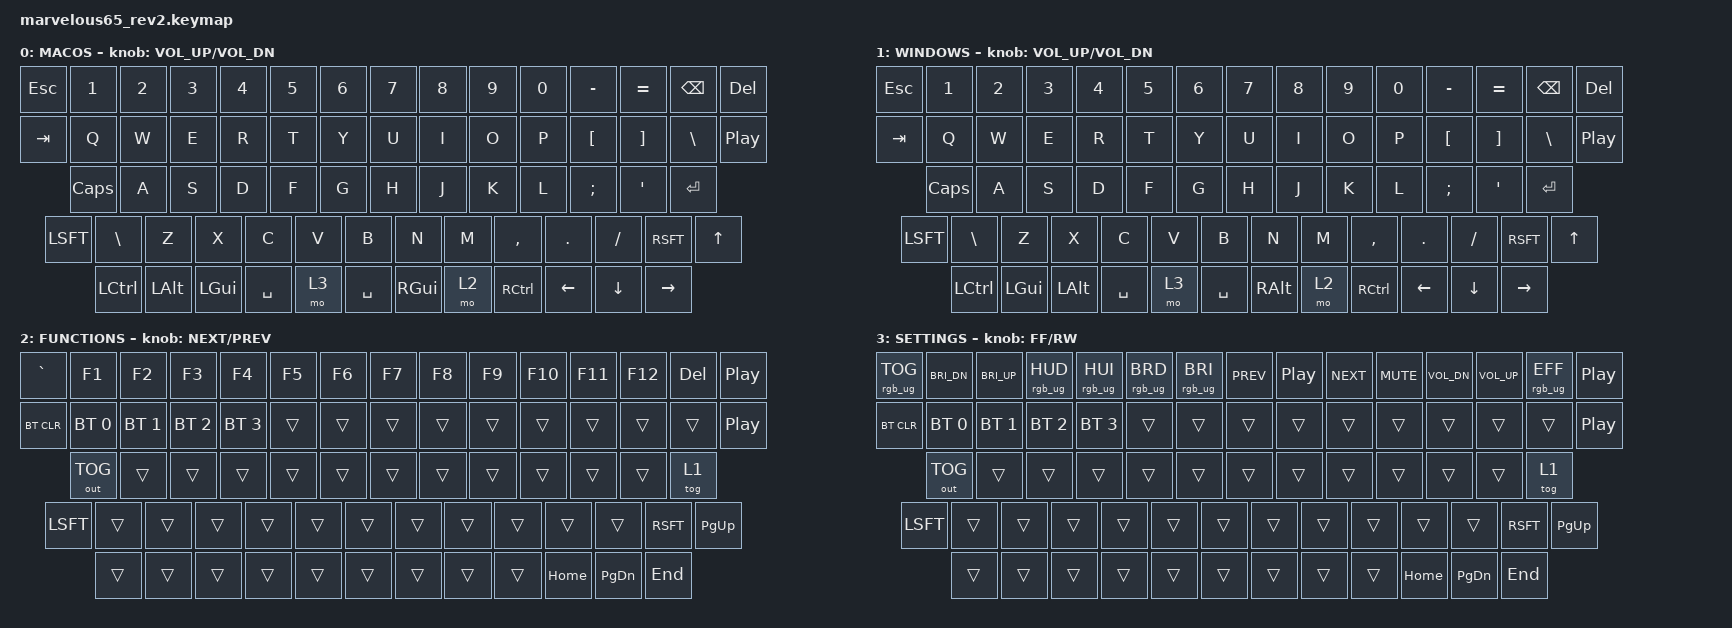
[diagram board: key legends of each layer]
/*
 * Copyright (c) 2020 The ZMK Contributors
 *
 * SPDX-License-Identifier: MIT
 */

#include <behaviors.dtsi>
#include <dt-bindings/zmk/keys.h>
#include <dt-bindings/zmk/bt.h>
#include <dt-bindings/zmk/outputs.h>
#include <dt-bindings/zmk/rgb.h>

/ {
	keymap0: keymap {
		compatible = "zmk,keymap";
		

		default_layer {
			
		label = "MACOS";
// -------------------------------------------------------------------------------------------------
// | ESC |  1  |  2  |  3  |  4  |  5  |  6  |  7  |  8  |  9  |  0  |  -  |  =  |   BKSP    | ENC  |
// | TAB  |  Q  |  W  |  E  |  R  |  T  |  Y  |  U  |  I  |  O  |  P  |  [  |  ]  |    \     |      |
// | CAPS  |  A  |  S  |  D  |  F  |  G  |  H  |  J  |  K  |  L  |  ;  |  '  |     ENTER     |      |
// |  SHIFT  |  Z  |  X  |  C  |  V  |  B  |  N  |  M  |  ,  |  .  |  /  |    SHIFT   |  UP  |      |
// |  CTL  |  WIN  |  ALT  |  SPACE | MO(2) |    SPACE    | ALT | MO(1) | CTRL | LEFT | DOWN | RIGHT|
// -------------------------------------------------------------------------------------------------
			bindings = <
	&kp ESC &kp NUM_1  &kp NUM_2 &kp NUM_3 &kp NUM_4 &kp NUM_5 &kp NUM_6 &kp NUM_7 &kp NUM_8 &kp NUM_9 &kp NUM_0 &kp MINUS &kp EQL  &kp BKSP &kp DEL
	&kp TAB  &kp   Q   &kp   W   &kp   E   &kp   R   &kp   T   &kp   Y   &kp   U   &kp   I   &kp   O   &kp   P   &kp LBKT &kp RBKT &kp BSLH &kp C_PP
	&kp CLCK  &kp   A   &kp   S   &kp   D   &kp   F   &kp   G   &kp   H   &kp   J   &kp   K   &kp   L   &kp  SCLN  &kp  QUOT        &kp RET
	&kp LSFT &kp BSLH  &kp   Z   &kp   X   &kp   C   &kp   V   &kp   B   &kp   N   &kp   M   &kp  CMMA &kp  DOT  &kp FSLH      &kp RSFT &kp UP 
	&kp LCTL &kp   LALT   &kp  LGUI   &kp SPC   &mo  3   &kp SPC     &kp  RGUI  &mo  2 &kp  RCTL  &kp LEFT &kp DOWN &kp RIGHT 
			>;

			 sensor-bindings = <&inc_dec_kp C_VOL_UP C_VOL_DN>;
		};

			macos {
			
			label = "WINDOWS";
// -------------------------------------------------------------------------------------------------
// | ESC |  1  |  2  |  3  |  4  |  5  |  6  |  7  |  8  |  9  |  0  |  -  |  =  |   BKSP    | ENC  |
// | TAB  |  Q  |  W  |  E  |  R  |  T  |  Y  |  U  |  I  |  O  |  P  |  [  |  ]  |    \     |      |
// | CAPS  |  A  |  S  |  D  |  F  |  G  |  H  |  J  |  K  |  L  |  ;  |  '  |     ENTER     |      |
// |  SHIFT  |  Z  |  X  |  C  |  V  |  B  |  N  |  M  |  ,  |  .  |  /  |    SHIFT   |  UP  |      |
// |  CTL  |  WIN  |  ALT  |  SPACE | MO(2) |    SPACE    | ALT | MO(1) | CTRL | LEFT | DOWN | RIGHT|
// -------------------------------------------------------------------------------------------------
			bindings = <
	&kp ESC &kp NUM_1 &kp NUM_2 &kp NUM_3 &kp NUM_4 &kp NUM_5 &kp NUM_6 &kp NUM_7 &kp NUM_8 &kp NUM_9 &kp NUM_0 &kp MINUS &kp EQL  &kp BKSP &kp DEL
	&kp TAB  &kp   Q   &kp   W   &kp   E   &kp   R   &kp   T   &kp   Y   &kp   U   &kp   I   &kp   O   &kp   P   &kp LBKT &kp RBKT &kp BSLH &kp C_PP
	&kp CLCK  &kp   A   &kp   S   &kp   D   &kp   F   &kp   G   &kp   H   &kp   J   &kp   K   &kp   L   &kp  SCLN  &kp  QUOT        &kp RET
	&kp LSFT &kp BSLH  &kp   Z   &kp   X   &kp   C   &kp   V   &kp   B   &kp   N   &kp   M   &kp  CMMA &kp  DOT  &kp FSLH      &kp RSFT &kp UP 
	&kp LCTL &kp  LGUI  &kp   LALT     &kp SPC   &mo  3   &kp SPC     &kp  RALT  &mo  2 &kp  RCTL  &kp LEFT &kp DOWN &kp RIGHT 
			>;


			 sensor-bindings = <&inc_dec_kp C_VOL_UP C_VOL_DN>;
		};

		functions {
			label = "FUNCTIONS";
            bindings = <
	&kp GRAVE &kp F1 &kp F2 &kp F3 &kp F4 &kp F5 &kp F6 &kp F7 &kp F8 &kp F9 &kp F10 &kp F11 &kp F12  &kp DEL &kp C_PP
	&bt BT_CLR  &bt BT_SEL 0 &bt BT_SEL 1 &bt BT_SEL 2  &bt BT_SEL 3   &trans   &trans   &trans   &trans   &trans   &trans   &trans &trans  &trans &kp C_PP
	&out OUT_TOG &trans   &trans   &trans   &trans   &trans   &trans   &trans   &trans   &trans   &trans  &trans        &tog 1
	&kp LSFT   &trans &trans  &trans  &trans   &trans   &trans   &trans   &trans   &trans &trans  &trans       &kp RSFT &kp PG_UP
	&trans &trans   &trans   &trans   &trans   &trans     &trans  &trans &trans   &kp HOME &kp PG_DN &kp END
			>;

			sensor-bindings = <&inc_dec_kp C_NEXT C_PREV>;
        };

		 settings {
			 label = "SETTINGS";
            bindings = <
	&rgb_ug RGB_TOG &kp C_BRI_DN &kp C_BRI_UP &rgb_ug RGB_HUD &rgb_ug RGB_HUI    &rgb_ug RGB_BRD &rgb_ug RGB_BRI &kp C_PREV &kp C_PP &kp C_NEXT &kp K_MUTE &kp C_VOL_DN &kp C_VOL_UP  &rgb_ug RGB_EFF &kp C_PP
	&bt BT_CLR  &bt BT_SEL 0 &bt BT_SEL 1 &bt BT_SEL 2  &bt BT_SEL 3   &trans   &trans   &trans   &trans   &trans  &trans        &trans &trans  &trans &kp C_PP
	&out OUT_TOG   &trans   &trans   &trans   &trans   &trans   &trans   &trans   &trans   &trans  &trans        &trans &tog 1
	&kp LSFT &trans &trans  &trans  &trans   &trans   &trans   &trans   &trans   &trans &trans  &trans       &kp RSFT &kp PG_UP  
	&trans &trans   &trans   &trans   &trans   &trans     &trans  &trans &trans  &kp HOME &kp PG_DN &kp END 
			>;
			sensor-bindings = <&inc_dec_kp C_FF C_RW>;
        };

	

       
	};
};




